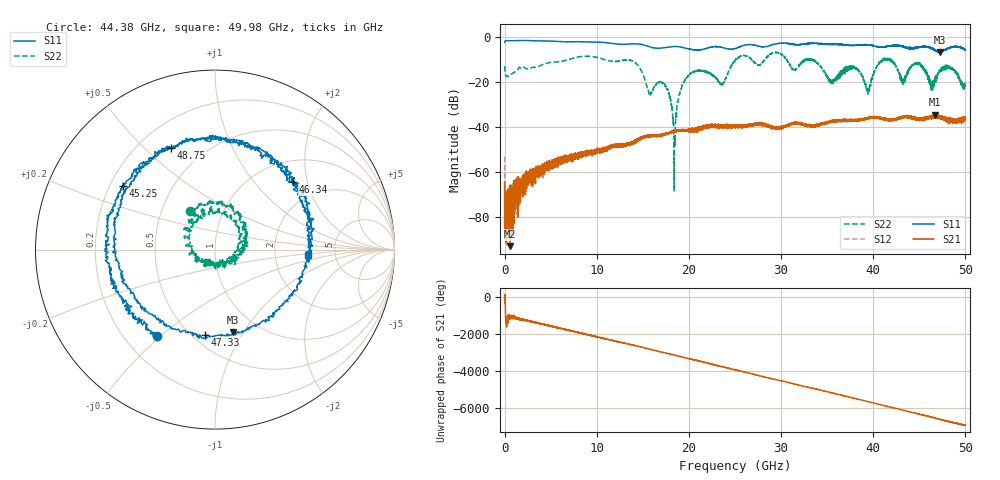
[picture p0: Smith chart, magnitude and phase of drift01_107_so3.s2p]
!Created with skrf (http://scikit-rf.org).
# Hz S RI R 50.0
!freq ReS11 ImS11 ReS21 ImS21 ReS12 ImS12 ReS22 ImS22
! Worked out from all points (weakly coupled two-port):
!   10001 points, 300 kHz to 50 GHz, reference 50 ohm
!   highest |S21| = -34.53 dB at 46.72 GHz (marker M1); lowest = -93.1 dB at 605.3 MHz (marker M2)
!   lowest |S11| = -6.5 dB at 47.21 GHz (marker M3), VSWR 2.79, Z = 38.1 - j45.2 ohm
!   |S11| at or under -10 dB: nowhere
!   |S22| runs from -68.5 to -6.7 dB; largest |S21 - S12| = 0.0035
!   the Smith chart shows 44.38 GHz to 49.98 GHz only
!   S11 on the Smith chart (normalised r, x): 44.38 GHz: 0.33, -0.48; 45.25 GHz: 0.25, +0.29; 46.34 GHz: 1.45, +1.63; 47.33 GHz: 0.58, -0.71; 48.75 GHz: 0.33, +0.60; 49.98 GHz: 3.15, -0.26
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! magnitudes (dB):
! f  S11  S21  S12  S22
! 300 kHz  -2.1  -64.5  -53.2  -12.8
! 605.3 MHz  -1.5  -93.1  -72.4  -16.7
! 8.335 GHz  -1.9  -52.7  -52.6  -8.5
! 16.67 GHz  -4.8  -43.9  -43.8  -20.0
! 17.74 GHz  -4.3  -42.8  -42.6  -24.1
! 18.44 GHz  -4.1  -42.1  -41.7  -46.7
! 19.93 GHz  -5.1  -41.3  -41.5  -17.2
! 23.6 GHz  -4.5  -39.8  -39.7  -20.7
! 25 GHz  -5.0  -39.7  -40.0  -10.2
! 33.34 GHz  -2.6  -39.6  -39.3  -9.9
! 39.45 GHz  -3.3  -36.1  -35.9  -23.6
! 41.67 GHz  -3.9  -36.5  -36.9  -10.0
! 43.19 GHz  -4.1  -35.6  -35.4  -18.9
! 44.38 GHz  -4.7  -35.8  -35.8  -11.9
! 45.25 GHz  -4.1  -36.1  -36.5  -12.7
! 46.34 GHz  -4.8  -35.3  -35.4  -20.4
! 46.72 GHz  -5.5  -34.5  -35.2  -18.0
! 47.21 GHz  -6.5  -35.3  -35.1  -14.9
! 47.33 GHz  -6.4  -35.4  -35.4  -14.1
! 48.75 GHz  -4.2  -36.7  -37.1  -14.9
! 49.98 GHz  -5.7  -35.9  -35.8  -21.5
! 50 GHz  -5.4  -36.3  -36.0  -21.8
